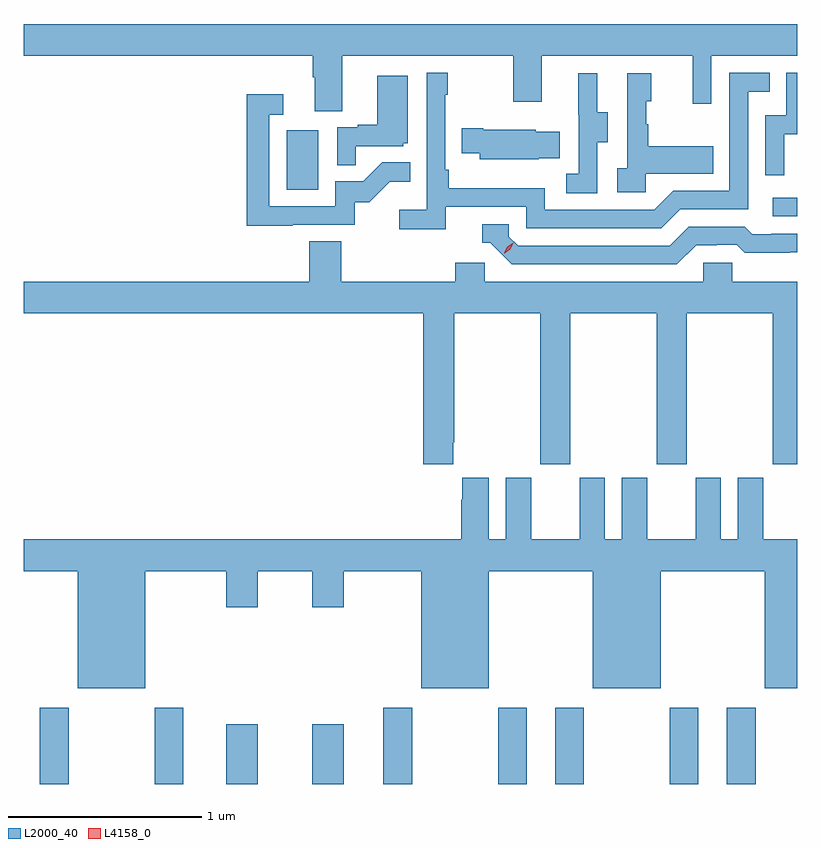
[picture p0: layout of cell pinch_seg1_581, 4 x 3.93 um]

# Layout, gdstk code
import gdstk
lib = gdstk.Library(unit=1e-6, precision=1e-09)
def R(c, l, rs):  # rectangles x0, y0, x1, y1
    for r in rs: c.add(gdstk.rectangle(r[:2], r[2:], *l))
def A(c, l, x, y, w, h, nx, ny, dx, dy):  # array of equal rectangles
    R(c, l, [(x+i*dx, y+j*dy, x+i*dx+w, y+j*dy+h) for i in range(nx) for j in range(ny)])
def P(c, l, *ps):  # polygons
    for p in ps: c.add(gdstk.Polygon(p, *l))
L2000_40 = (2000, 40)
L4158_0 = (4158, 0)

pinch_seg1_581 = lib.new_cell('pinch_seg1_581')
A(pinch_seg1_581, L2000_40, 1035.839, 501.347, 0.148, 0.395, 3, 1, 0.888, 0)
R(pinch_seg1_581, L2000_40, [(1034.063,501.347,1034.211,501.742), (1034.656,501.347,1034.803,501.742), (1035.026,501.347,1035.19,501.655), (1035.47,501.347,1035.634,501.655), (1036.432,501.347,1036.579,501.742), (1037.32,501.347,1037.467,501.742), (1037.853,504.282,1037.979,504.378), (1035.338,504.42,1035.502,504.727)])
P(pinch_seg1_581, L2000_40, [(1035.625,505.112),(1036.51,505.112),(1036.51,504.873),(1036.657,504.873),(1036.657,505.112),(1037.438,505.112),(1037.438,504.864),(1037.535,504.864),(1037.535,505.112),(1037.979,505.112),(1037.979,505.276),(1033.979,505.276),(1033.979,505.112),(1035.473,505.112),(1035.473,505),(1035.485,505),(1035.485,504.826),(1035.625,504.826)],
  [(1036.16,504.33),(1036.578,504.33),(1036.578,504.219),(1037.275,504.219),(1037.374,504.318),(1037.724,504.318),(1037.724,504.927),(1037.837,504.927),(1037.837,505.023),(1037.628,505.023),(1037.628,504.414),(1037.337,504.414),(1037.238,504.315),(1036.674,504.315),(1036.674,504.427),(1036.178,504.427),(1036.178,504.523),(1036.158,504.523),(1036.158,504.911),(1036.171,504.911),(1036.171,505.024),(1036.062,505.024),(1036.062,504.316),(1035.921,504.316),(1035.921,504.214),(1036.16,504.214)],
  [(1037.91,504.707),(1037.979,504.707),(1037.979,505.023),(1037.922,505.023),(1037.922,504.804),(1037.814,504.804),(1037.814,504.495),(1037.91,504.495)],
  [(1037.196,504.503),(1037.543,504.503),(1037.543,504.643),(1037.209,504.643),(1037.209,504.758),(1037.199,504.758),(1037.199,504.876),(1037.224,504.876),(1037.224,505.021),(1037.1,505.021),(1037.1,504.53),(1037.049,504.53),(1037.049,504.405),(1037.196,504.405)],
  [(1036.944,504.664),(1036.999,504.664),(1036.999,504.819),(1036.945,504.819),(1036.945,505.021),(1036.847,505.021),(1036.847,504.807),(1036.848,504.807),(1036.848,504.503),(1036.785,504.503),(1036.785,504.4),(1036.944,504.4)],
  [(1035.695,504.645),(1035.942,504.645),(1035.942,504.66),(1035.964,504.66),(1035.964,505.009),(1035.806,505.009),(1035.806,504.754),(1035.707,504.754),(1035.707,504.741),(1035.6,504.741),(1035.6,504.547),(1035.695,504.547)],
  [(1035.371,504.237),(1035.69,504.237),(1035.69,504.354),(1035.766,504.354),(1035.873,504.461),(1035.977,504.461),(1035.977,504.56),(1035.833,504.56),(1035.735,504.462),(1035.591,504.462),(1035.591,504.333),(1035.249,504.333),(1035.249,504.807),(1035.322,504.807),(1035.322,504.913),(1035.133,504.913),(1035.133,504.232),(1035.371,504.232)],
  [(1036.643,504.581),(1036.751,504.581),(1036.751,504.718),(1036.626,504.718),(1036.626,504.73),(1036.354,504.73),(1036.354,504.738),(1036.243,504.738),(1036.243,504.608),(1036.337,504.608),(1036.337,504.578),(1036.643,504.578)],
  [(1037.455,504.132),(1037.562,504.132),(1037.562,504.135),(1037.665,504.135),(1037.707,504.093),(1037.94,504.093),(1037.94,504.095),(1037.979,504.095),(1037.979,504.192),(1037.845,504.192),(1037.845,504.189),(1037.746,504.189),(1037.707,504.228),(1037.418,504.228),(1037.319,504.129),(1036.536,504.129),(1036.488,504.177),(1036.488,504.24),(1036.349,504.24),(1036.349,504.144),(1036.392,504.144),(1036.503,504.033),(1037.356,504.033)],
  [(1036.201,503.113),(1036.206,503.113),(1036.206,503.78),(1036.651,503.78),(1036.651,503.001),(1036.805,503.001),(1036.805,503.78),(1037.251,503.78),(1037.251,503.001),(1037.406,503.001),(1037.406,503.78),(1037.851,503.78),(1037.851,503.001),(1037.979,503.001),(1037.979,503.944),(1037.643,503.944),(1037.643,504.042),(1037.493,504.042),(1037.493,503.944),(1036.362,503.944),(1036.362,504.042),(1036.211,504.042),(1036.211,503.944),(1035.62,503.944),(1035.62,504.152),(1035.455,504.152),(1035.455,503.944),(1033.979,503.944),(1033.979,503.78),(1036.046,503.78),(1036.046,503.001),(1036.201,503.001)],
  [(1034.608,502.448),(1035.026,502.448),(1035.026,502.26),(1035.19,502.26),(1035.19,502.448),(1035.47,502.448),(1035.47,502.26),(1035.634,502.26),(1035.634,502.448),(1036.034,502.448),(1036.034,501.842),(1036.384,501.842),(1036.384,502.448),(1036.922,502.448),(1036.922,501.842),(1037.272,501.842),(1037.272,502.448),(1037.81,502.448),(1037.81,501.842),(1037.979,501.842),(1037.979,502.612),(1037.803,502.612),(1037.803,502.93),(1037.672,502.93),(1037.672,502.612),(1037.584,502.612),(1037.584,502.93),(1037.453,502.93),(1037.453,502.612),(1037.203,502.612),(1037.203,502.93),(1037.072,502.93),(1037.072,502.612),(1036.984,502.612),(1036.984,502.93),(1036.853,502.93),(1036.853,502.612),(1036.603,502.612),(1036.603,502.93),(1036.472,502.93),(1036.472,502.612),(1036.384,502.612),(1036.384,502.93),(1036.247,502.93),(1036.247,502.817),(1036.241,502.817),(1036.241,502.612),(1033.979,502.612),(1033.979,502.448),(1034.258,502.448),(1034.258,501.842),(1034.608,501.842)])
P(pinch_seg1_581, L4158_0, [(1036.464,504.091),(1036.464,504.092),(1036.48,504.124),(1036.511,504.144),(1036.511,504.144),(1036.511,504.143),(1036.495,504.111),(1036.465,504.091)])

lib.write_gds('pinch_seg1_581.gds')
